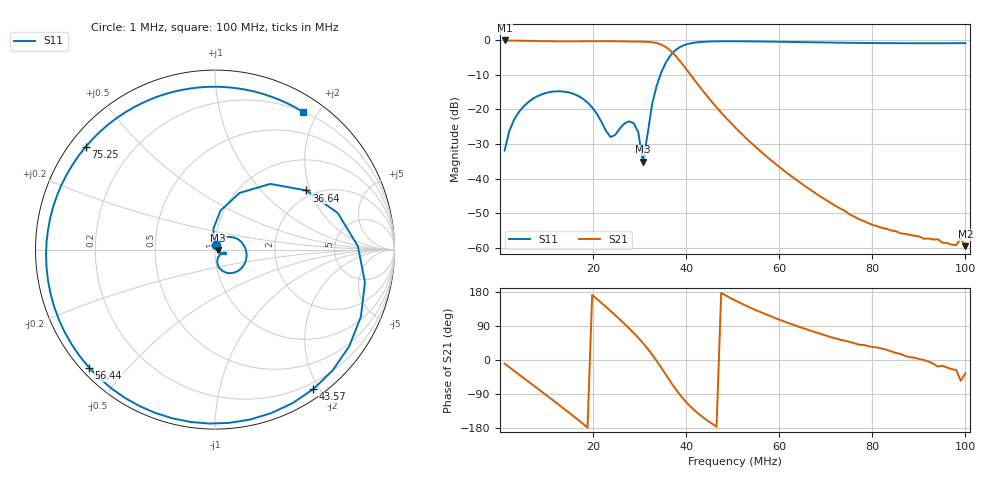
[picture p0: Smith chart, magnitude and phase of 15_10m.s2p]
# HZ S RI R 50
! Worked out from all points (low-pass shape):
!   101 points, 1 MHz to 100 MHz, reference 50 ohm
!   highest |S21| = -0.03 dB at 1 MHz (marker M1); lowest = -59.6 dB at 100 MHz (marker M2)
!   |S21| within 3 dB of the highest: start of sweep to 36.69 MHz
!   lowest |S11| = -35.1 dB at 30.7 MHz (marker M3), VSWR 1.04, Z = 51.8 - j0.324 ohm
!   |S11| at or under -10 dB: start of sweep to 34.47 MHz
!   S12 and S22 are empty: the file has one direction only
!   S11 on the Smith chart (normalised r, x): 1 MHz: 1.01, +0.05; 36.64 MHz: 1.81, +1.88; 43.57 MHz: 0.12, -1.92; 56.44 MHz: 0.02, -0.40; 75.25 MHz: 0.05, +0.35; 100 MHz: 0.20, +1.80
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1000000  0.00498 0.0249  0.9824 -0.1644  0 0  0 0
3970000  0.0581 0.0688  0.7866 -0.5978  0 0  0 0
9910000  0.1732 -0.00471  -0.0407 -0.9713  0 0  0 0
1.387e7  0.1494 -0.1018  -0.6179 -0.7444  0 0  0 0
1.783e7  0.0614 -0.1285  -0.9499 -0.1966  0 0  0 0
2.179e7  0.0124 -0.0653  -0.8493 0.4746  0 0  0 0
2.377e7  0.0252 -0.0308  -0.6151 0.7514  0 0  0 0
2.575e7  0.0503 -0.0164  -0.2832 0.9255  0 0  0 0
2.872e7  0.0575 -0.0266  0.3047 0.9115  0 0  0 0
2.971e7  0.0411 -0.023  0.496 0.8208  0 0  0 0
3.07e7  0.0173 -0.00313  0.6753 0.6774  0 0  0 0
3.268e7  -0.00868 0.1185  0.9085 0.2354  0 0  0 0
3.466e7  0.137 0.3158  0.8154 -0.3007  0 0  0 0
3.664e7  0.5084 0.3295  0.3844 -0.5972  0 0  0 0
3.961e7  0.8354 -0.1828  -0.1128 -0.4021  0 0  0 0
4.357e7  0.5479 -0.7771  -0.163 -0.0913  0 0  0 0
5.05e7  -0.239 -0.9396  -0.0509 0.0213  0 0  0 0
5.644e7  -0.7007 -0.6584  -0.013 0.0193  0 0  0 0
6.733e7  -0.9307 0.1082  0.00167 0.00623  0 0  0 0
7.525e7  -0.7214 0.5719  0.00203 0.0022  0 0  0 0
8.416e7  -0.2966 0.8606  0.00163 0.000671  0 0  0 0
1e8  0.4877 0.7689  0.000857 -0.000604  0 0  0 0
